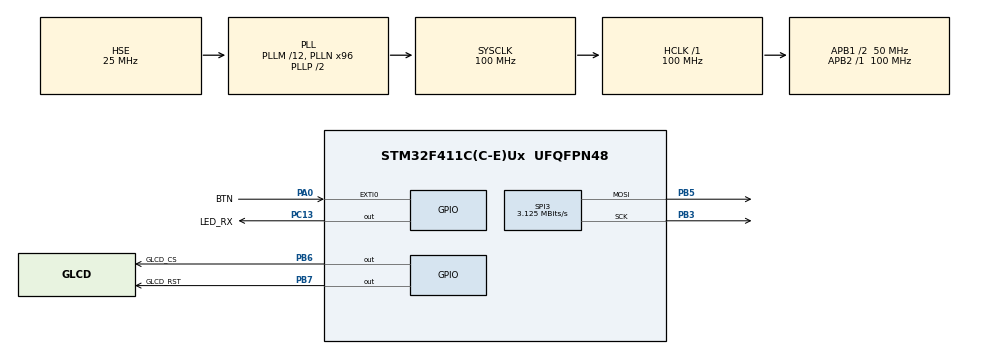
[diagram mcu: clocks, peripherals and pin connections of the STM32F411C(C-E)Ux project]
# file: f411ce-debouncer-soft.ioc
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Mcu.Family=STM32F4
Mcu.Name=STM32F411C(C-E)Ux
Mcu.Package=UFQFPN48
NVIC.EXTI0_IRQn=true\:0\:0\:false\:false\:true\:true\:true\:true
NVIC.PriorityGroup=NVIC_PRIORITYGROUP_4
NVIC.TIM1_BRK_TIM9_IRQn=true\:0\:0\:false\:false\:true\:true\:true\:true
NVIC.TIM4_IRQn=true\:0\:0\:false\:false\:true\:true\:true\:true
PA0-WKUP.GPIO_Label=BTN
PA0-WKUP.GPIO_ModeDefaultEXTI=GPIO_MODE_IT_RISING_FALLING
PA0-WKUP.Signal=GPXTI0
PA13.Mode=Serial_Wire
PA13.Signal=SYS_JTMS-SWDIO
PA14.Mode=Serial_Wire
PA14.Signal=SYS_JTCK-SWCLK
PB3.Mode=TX_Only_Simplex_Unidirect_Master
PB3.Signal=SPI3_SCK
PB5.Mode=TX_Only_Simplex_Unidirect_Master
PB5.Signal=SPI3_MOSI
PB6.GPIO_Label=GLCD_CS
PB6.GPIO_Speed=GPIO_SPEED_FREQ_VERY_HIGH
PB6.Signal=GPIO_Output
PB7.GPIO_Label=GLCD_RST
PB7.GPIO_Speed=GPIO_SPEED_FREQ_VERY_HIGH
PB7.Signal=GPIO_Output
PC13-ANTI_TAMP.GPIO_Label=LED_RX
PC13-ANTI_TAMP.PinState=GPIO_PIN_SET
PC13-ANTI_TAMP.Signal=GPIO_Output
PH0\ -\ OSC_IN.Mode=HSE-External-Oscillator
PH0\ -\ OSC_IN.Signal=RCC_OSC_IN
PH1\ -\ OSC_OUT.Mode=HSE-External-Oscillator
PH1\ -\ OSC_OUT.Signal=RCC_OSC_OUT
ProjectManager.HeapSize=0x200
ProjectManager.StackSize=0x400
ProjectManager.TargetToolchain=STM32CubeIDE
RCC.48MHZClocksFreq_Value=50000000
RCC.AHBFreq_Value=100000000
RCC.APB1CLKDivider=RCC_HCLK_DIV2
RCC.APB1Freq_Value=50000000
RCC.APB1TimFreq_Value=100000000
RCC.APB2Freq_Value=100000000
RCC.APB2TimFreq_Value=100000000
RCC.CortexFreq_Value=100000000
RCC.HCLKFreq_Value=100000000
RCC.HSE_VALUE=25000000
RCC.HSI_VALUE=16000000
RCC.LSE_VALUE=32768
RCC.PLLM=12
RCC.PLLN=96
RCC.PLLSourceVirtual=RCC_PLLSOURCE_HSE
RCC.SYSCLKFreq_VALUE=100000000
RCC.SYSCLKSource=RCC_SYSCLKSOURCE_PLLCLK
RCC.VCOOutputFreq_Value=200000000
SPI3.BaudRatePrescaler=SPI_BAUDRATEPRESCALER_16
SPI3.CLKPhase=SPI_PHASE_2EDGE
SPI3.CalculateBaudRate=3.125 MBits/s
SPI3.Direction=SPI_DIRECTION_2LINES
SPI3.Mode=SPI_MODE_MASTER
SPI3.VirtualType=VM_MASTER
TIM4.Period=9999
TIM4.Prescaler=999
TIM9.Period=4999
TIM9.Prescaler=99
VP_TIM4_VS_ClockSourceINT.Mode=Internal
VP_TIM9_VS_ClockSourceINT.Mode=Internal
board=custom

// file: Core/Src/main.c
/* USER CODE BEGIN Header */
/**
 ******************************************************************************
 * @file           : main.c
 * @brief          : Main program body
 ******************************************************************************
 * @attention
 *
 * Copyright (c) 2024 STMicroelectronics.
 * All rights reserved.
 *
 * This software is licensed under terms that can be found in the LICENSE file
 * in the root directory of this software component.
 * If no LICENSE file comes with this software, it is provided AS-IS.
 *
 ******************************************************************************
 */
/* USER CODE END Header */
#include "main.h"
#include "spi.h"
#include "tim.h"
#include "gpio.h"

/* USER CODE BEGIN Includes */
#include "lvgl.h"
#include "ST7920_SERIAL.h"

#include "screen/screen.h"
/* USER CODE END Includes */

/* USER CODE BEGIN PTD */
typedef enum{
	RS485_MODE_TRANSMIT,
	RS485_MODE_RECEIVE
}rs485_mode_e;
/* USER CODE END PTD */

/* USER CODE BEGIN PV */
volatile uint32_t intCount = 0;
volatile uint32_t debCount = 0;
volatile uint32_t flagInterruption = 0;

volatile uint32_t flagDebEnabled = 1;

static lv_disp_drv_t DispDriver;
static lv_disp_draw_buf_t DrawBuf;
static lv_color_t buf1[128 * 64];
static lv_disp_t *disp;
/* USER CODE END PV */

void SystemClock_Config(void);

/* USER CODE BEGIN 0 */

/* === TIM Callbacks == */

void HAL_TIM_PeriodElapsedCallback(TIM_HandleTypeDef *htim){
	if (htim->Instance == TIM9){
		lv_tick_inc(5);
	}
	if (htim->Instance == TIM4){
//		HAL_NVIC_EnableIRQ(EXTI0_IRQn);
		flagDebEnabled = 1;
	}
}

/* === Display Fxns === */

void my_disp_flush(struct _lv_disp_drv_t * disp_drv, const lv_area_t * area, lv_color_t * color_p)
{
	int32_t x, y;
	/*It's a very slow but simple implementation.
	 *`set_pixel` needs to be written by you to a set pixel on the screen*/
	for(y = area->y1; y <= area->y2; y++) {
		for(x = area->x1; x <= area->x2; x++) {
			if (color_p->full == 0){
				SetPixel(x, y);
			}
			else{
				ClearPixel(x, y);
			}
			color_p++;
		}
	}

	lv_disp_flush_ready(disp_drv);         /* Indicate you are ready with the flushing*/
}

void _screen_init(){
	/* initialize ST7920 Display Driver */
	ST7920_Init();
	ST7920_GraphicMode(1);
	ST7920_Clear();

	/* Initialize basic LVGL */
	lv_init();
	lv_disp_draw_buf_init(&DrawBuf, buf1, NULL, sizeof(buf1));

	/* initialize the driver for LVGL */
	lv_disp_drv_init(&DispDriver);
	DispDriver.flush_cb = my_disp_flush;
	//  DispDriver.set_px_cb = my_set_px_cb;
	//  DispDriver.rounder_cb = my_rounder;
	DispDriver.draw_buf = &DrawBuf;
	DispDriver.hor_res = 128;
	DispDriver.ver_res = 64;
	disp = lv_disp_drv_register(&DispDriver);

	// Start the lvgl timebase timer
	HAL_TIM_Base_Start_IT(&htim9);

	// initialize screen position and coniguration
	screen_main_init();
}

/** GPIO Interrupt Routines **/

void HAL_GPIO_EXTI_Callback(uint16_t GPIO_Pin){
	if (HAL_GPIO_ReadPin(BTN_GPIO_Port, BTN_Pin) == GPIO_PIN_SET){
		intCount++;
	}
	if (flagDebEnabled == 1){
		if (HAL_GPIO_ReadPin(BTN_GPIO_Port, BTN_Pin) == GPIO_PIN_SET){
			debCount++;
			HAL_GPIO_WritePin(LED_RX_GPIO_Port, LED_RX_Pin, GPIO_PIN_RESET);
		}
//		HAL_NVIC_DisableIRQ(EXTI0_IRQn);
		HAL_TIM_Base_Start_IT(&htim4);
	}
	flagDebEnabled = 0;
	flagInterruption = 1;
}

/* USER CODE END 0 */

int main(void)
{

  /* USER CODE BEGIN 1 */
	uint32_t Tick1000;
	uint32_t lvTick25;
  /* USER CODE END 1 */

  /* MCU Configuration--------------------------------------------------------*/

  /* Reset of all peripherals, Initializes the Flash interface and the Systick. */
  HAL_Init();

  /* Configure the system clock */
  SystemClock_Config();

  /* Initialize all configured peripherals */
  MX_GPIO_Init();
  MX_SPI3_Init();
  MX_TIM9_Init();
  MX_TIM4_Init();
  /* USER CODE BEGIN 2 */
	HAL_Delay(200);

	_screen_init();
  /* USER CODE END 2 */

  /* Infinite loop */
  /* USER CODE BEGIN WHILE */
	Tick1000 = HAL_GetTick();
	lvTick25 = HAL_GetTick();
	while (1)
	{
		// process lvgl every 25 ms, and refresh the display
		if ((HAL_GetTick() - lvTick25) > 25){
			lv_task_handler();
			ST7920_Update();
		}

		if (flagInterruption == 1){
			flagInterruption = 0;
			HAL_Delay(50);
			HAL_GPIO_WritePin(LED_RX_GPIO_Port, LED_RX_Pin, GPIO_PIN_SET);
			screen_upd_raw(intCount);
			screen_upd_debounced(debCount);
		}
    /* USER CODE END WHILE */

	}
}

void SystemClock_Config(void)
{
  RCC_OscInitTypeDef RCC_OscInitStruct = {0};
  RCC_ClkInitTypeDef RCC_ClkInitStruct = {0};

  /** Configure the main internal regulator output voltage
  */
  __HAL_RCC_PWR_CLK_ENABLE();
  __HAL_PWR_VOLTAGESCALING_CONFIG(PWR_REGULATOR_VOLTAGE_SCALE1);

  /** Initializes the RCC Oscillators according to the specified parameters
  * in the RCC_OscInitTypeDef structure.
  */
  RCC_OscInitStruct.OscillatorType = RCC_OSCILLATORTYPE_HSE;
  RCC_OscInitStruct.HSEState = RCC_HSE_ON;
  RCC_OscInitStruct.PLL.PLLState = RCC_PLL_ON;
  RCC_OscInitStruct.PLL.PLLSource = RCC_PLLSOURCE_HSE;
  RCC_OscInitStruct.PLL.PLLM = 12;
  RCC_OscInitStruct.PLL.PLLN = 96;
  RCC_OscInitStruct.PLL.PLLP = RCC_PLLP_DIV2;
  RCC_OscInitStruct.PLL.PLLQ = 4;
  if (HAL_RCC_OscConfig(&RCC_OscInitStruct) != HAL_OK)
  {
    Error_Handler();
  }

  /** Initializes the CPU, AHB and APB buses clocks
  */
  RCC_ClkInitStruct.ClockType = RCC_CLOCKTYPE_HCLK|RCC_CLOCKTYPE_SYSCLK
                              |RCC_CLOCKTYPE_PCLK1|RCC_CLOCKTYPE_PCLK2;
  RCC_ClkInitStruct.SYSCLKSource = RCC_SYSCLKSOURCE_PLLCLK;
  RCC_ClkInitStruct.AHBCLKDivider = RCC_SYSCLK_DIV1;
  RCC_ClkInitStruct.APB1CLKDivider = RCC_HCLK_DIV2;
  RCC_ClkInitStruct.APB2CLKDivider = RCC_HCLK_DIV1;

  if (HAL_RCC_ClockConfig(&RCC_ClkInitStruct, FLASH_LATENCY_3) != HAL_OK)
  {
    Error_Handler();
  }
}

void Error_Handler(void)
{
	__disable_irq();
	while (1)
	{
	}
}
